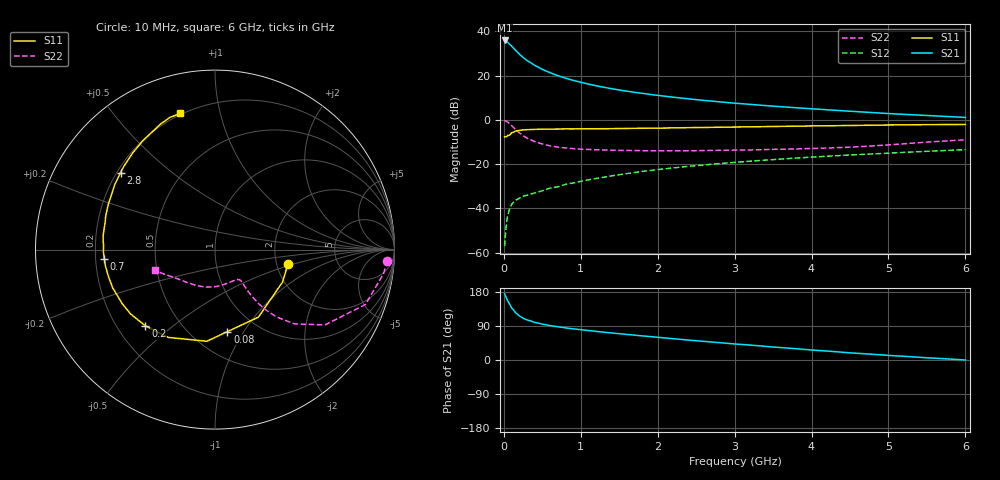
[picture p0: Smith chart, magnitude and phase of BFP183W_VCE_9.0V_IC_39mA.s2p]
! Infineon Technologies  Discrete & RF Semiconductors
! BFP183W
! VCE =  9.0 V,  IC =  39 mA
! Common Emitter S-Parameters:  Jan 2017
# GHz  S  MA  R  50
!  f  S11  S21  S12  S22
! GHz  MAG  ANG  MAG  ANG  MAG  ANG  MAG  ANG
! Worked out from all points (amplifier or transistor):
!   77 points, 10 MHz to 6 GHz, reference 50 ohm
!   highest |S21| = 35.8 dB at 10 MHz (marker M1)
!   |S21| within 3 dB of that: start of sweep to 113.4 MHz
!   unconditionally stable (mu >= 1): 873.6 MHz to 3.366 GHz
!   at 130 MHz: K = 0.32, MSG = 34.6 dB, |S12| = -37.1 dB
!   at 2.2 GHz: K = 1.06, MAG = 14.5 dB, |S12| = -21.7 dB
!   at 6 GHz: K = 0.86, MSG = 7.3 dB, |S12| = -13.5 dB
!   S11 on the Smith chart (normalised r, x): 10 MHz: 2.31, -0.44; 80 MHz: 0.73, -0.85; 200 MHz: 0.32, -0.40; 700 MHz: 0.24, -0.04; 2.8 GHz: 0.21, +0.34; 6 GHz: 0.19, +0.76
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0.01  0.4143 -10.9  61.94 174.8  0.0014 84.5  0.9625 -3.7
0.02  0.4176 -25.6  60.88 169.5  0.0024 96.5  0.9487 -8.1
0.05  0.4473 -57.3  56.37 155.9  0.007 70.2  0.8925 -20.0
0.08  0.4622 -81.4  49.77 145.8  0.0101 63.5  0.7965 -28.0
0.1  0.5127 -95.1  46.44 137.6  0.0122 61.0  0.743 -34.4
0.15  0.5544 -118.1  37.46 125.3  0.0152 54.4  0.6071 -43.0
0.2  0.5752 -132.4  30.62 116.6  0.0168 52.1  0.5105 -47.5
0.25  0.5914 -142.6  25.71 110.4  0.0188 48.9  0.4391 -49.9
0.3  0.5986 -149.8  21.97 105.9  0.0198 49.3  0.3871 -51.1
0.4  0.6089 -159.7  17.02 99.3  0.0223 52.2  0.3216 -51.7
0.5  0.6129 -166.5  13.77 94.7  0.025 54.5  0.2833 -51.4
0.6  0.6173 -171.5  11.6 90.9  0.0287 55.7  0.2582 -50.9
0.7  0.6187 -175.4  9.969 87.8  0.0307 58.5  0.2415 -50.2
0.9  0.6211 177.8  7.785 82.3  0.0375 60.6  0.2236 -50.6
1.1  0.628 172.5  6.406 77.8  0.0442 62.4  0.2142 -51.4
1.5  0.6353 163.8  4.714 69.5  0.0575 63.9  0.2037 -55.9
2.1  0.6521 152.3  3.401 58.1  0.0784 62.9  0.1996 -67.5
2.8  0.6793 140.8  2.547 45.8  0.1027 60.2  0.2045 -85.4
3.1  0.6902 136.3  2.303 40.9  0.1126 58.3  0.2077 -93.5
4.1  0.7295 122.7  1.73 25.0  0.1469 52.4  0.2274 -120.2
5.1  0.766 112.3  1.356 11.0  0.1802 46.0  0.2791 -146.5
6  0.783 104.3  1.132 0.0  0.2119 39.9  0.354 -160.8
